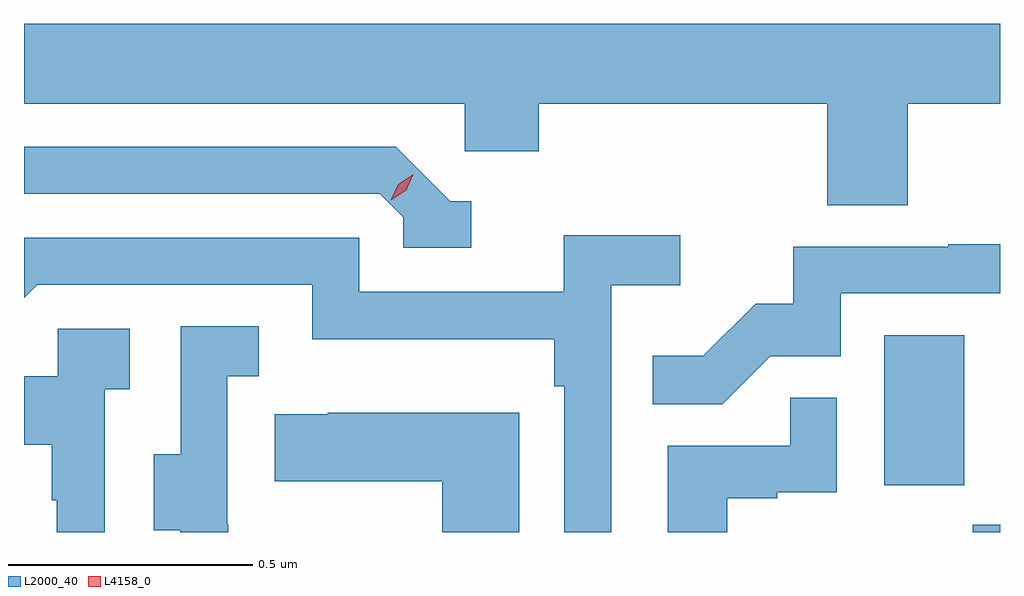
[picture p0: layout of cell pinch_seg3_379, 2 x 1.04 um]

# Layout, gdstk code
import gdstk
lib = gdstk.Library(unit=1e-6, precision=1e-09)
def R(c, l, rs):  # rectangles x0, y0, x1, y1
    for r in rs: c.add(gdstk.rectangle(r[:2], r[2:], *l))
def P(c, l, *ps):  # polygons
    for p in ps: c.add(gdstk.Polygon(p, *l))
L2000_40 = (2000, 40)
L4158_0 = (4158, 0)

pinch_seg3_379 = lib.new_cell('pinch_seg3_379')
R(pinch_seg3_379, L2000_40, [(962.745,705.365,962.801,705.381), (962.564,705.462,962.728,705.769)])
P(pinch_seg3_379, L2000_40, [(962.612,706.244),(962.801,706.244),(962.801,706.408),(960.801,706.408),(960.801,706.244),(961.704,706.244),(961.704,706.146),(961.856,706.146),(961.856,706.244),(962.447,706.244),(962.447,706.036),(962.612,706.036)],
  [(961.717,706.044),(961.674,706.044),(961.563,706.155),(960.801,706.155),(960.801,706.059),(961.53,706.059),(961.578,706.011),(961.578,705.948),(961.717,705.948)],
  [(962.004,705.872),(962.146,705.872),(962.146,705.974),(961.907,705.974),(961.907,705.858),(961.488,705.858),(961.488,705.969),(960.801,705.969),(960.801,705.846),(960.828,705.873),(961.392,705.873),(961.392,705.761),(961.888,705.761),(961.888,705.665),(961.908,705.665),(961.908,705.365),(962.004,705.365)],
  [(962.33,705.726),(962.475,705.726),(962.475,705.855),(962.801,705.855),(962.801,705.956),(962.695,705.956),(962.695,705.951),(962.377,705.951),(962.377,705.834),(962.3,705.834),(962.193,705.727),(962.089,705.727),(962.089,705.628),(962.232,705.628)],
  [(961.22,705.381),(961.218,705.381),(961.218,705.685),(961.282,705.685),(961.282,705.788),(961.122,705.788),(961.122,705.525),(961.067,705.525),(961.067,705.37),(961.121,705.37),(961.121,705.365),(961.22,705.365)],
  [(960.966,705.659),(961.018,705.659),(961.018,705.783),(960.87,705.783),(960.87,705.685),(960.801,705.685),(960.801,705.545),(960.858,705.545),(960.858,705.431),(960.868,705.431),(960.868,705.365),(960.966,705.365)],
  [(962.242,705.435),(962.345,705.435),(962.345,705.447),(962.466,705.447),(962.466,705.641),(962.371,705.641),(962.371,705.543),(962.12,705.543),(962.12,705.365),(962.242,705.365)],
  [(961.816,705.61),(961.423,705.61),(961.423,705.607),(961.315,705.607),(961.315,705.47),(961.658,705.47),(961.658,705.365),(961.816,705.365)])
P(pinch_seg3_379, L4158_0, [(961.553,706.046),(961.553,706.046),(961.568,706.079),(961.599,706.099),(961.599,706.099),(961.599,706.099),(961.584,706.066),(961.553,706.046)])

lib.write_gds('pinch_seg3_379.gds')
